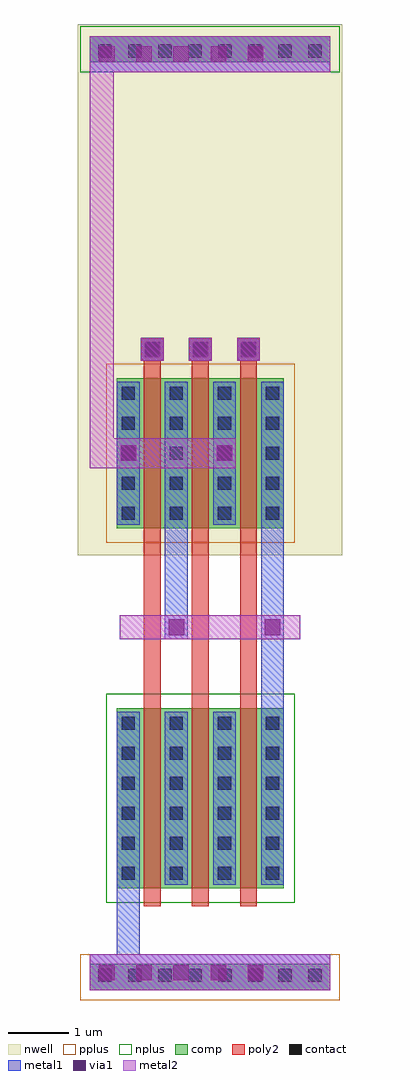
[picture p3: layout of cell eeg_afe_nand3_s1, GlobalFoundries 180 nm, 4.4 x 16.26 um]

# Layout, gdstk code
import gdstk
lib = gdstk.Library(unit=1e-6, precision=1e-09)
def R(c, l, rs):  # rectangles x0, y0, x1, y1
    for r in rs: c.add(gdstk.rectangle(r[:2], r[2:], *l))
def A(c, l, x, y, w, h, nx, ny, dx, dy):  # array of equal rectangles
    R(c, l, [(x+i*dx, y+j*dy, x+i*dx+w, y+j*dy+h) for i in range(nx) for j in range(ny)])
nwell = (21, 0)
comp = (22, 0)
poly2 = (30, 0)
pplus = (31, 0)
nplus = (32, 0)
contact = (33, 0)
metal1 = (34, 0)
via1 = (35, 0)
metal2 = (36, 0)

eeg_afe_nand3_s1 = lib.new_cell('eeg_afe_nand3_s1')
R(eeg_afe_nand3_s1, nwell, [(-0.2,7.25,4.2,16.1)])
R(eeg_afe_nand3_s1, comp, [(0,0,4,0.44), (0.45,1.7,3.23,4.7), (0.45,7.7,3.23,10.2), (0,15.46,4,15.9)])
A(eeg_afe_nand3_s1, poly2, 0.9, 1.4, 0.28, 6.3, 3, 1, 0.8, 0)
A(eeg_afe_nand3_s1, poly2, 0.9, 7.4, 0.28, 3.46, 3, 1, 0.8, 0)
A(eeg_afe_nand3_s1, poly2, 0.86, 10.5, 0.36, 0.36, 3, 1, 0.8, 0)
R(eeg_afe_nand3_s1, pplus, [(-0.16,-0.16,4.16,0.6), (0.27,7.46,3.41,10.44)])
R(eeg_afe_nand3_s1, nplus, [(0.27,1.46,3.41,4.94), (-0.16,15.3,4.16,16.06)])
A(eeg_afe_nand3_s1, contact, 0.14, 0.14, 0.22, 0.22, 8, 2, 0.5, 15.4)
A(eeg_afe_nand3_s1, contact, 0.53, 1.84, 0.22, 0.22, 4, 6, 0.8, 0.5)
A(eeg_afe_nand3_s1, contact, 0.53, 7.84, 0.22, 0.22, 4, 5, 0.8, 0.5)
A(eeg_afe_nand3_s1, contact, 0.93, 10.57, 0.22, 0.22, 3, 1, 0.8, 0)
A(eeg_afe_nand3_s1, metal1, 0.85, 10.49, 0.38, 0.38, 3, 1, 0.8, 0)
R(eeg_afe_nand3_s1, metal1, [(0,0,4,0.6), (0,0,4,0.44), (0.45,0.3,0.83,4.64), (1.25,1.76,1.63,4.64), (2.05,1.76,2.43,4.64), (2.85,1.76,3.23,6.25), (1.25,5.85,1.63,10.14), (2.85,5.85,3.23,10.14), (0.45,7.76,0.83,10.14), (2.05,7.76,2.43,10.14), (0,15.3,4,15.9), (0,15.46,4,15.9)])
A(eeg_afe_nand3_s1, via1, 0.15, 0.17, 0.26, 0.26, 5, 2, 0.62, 15.3)
A(eeg_afe_nand3_s1, via1, 0.91, 10.55, 0.26, 0.26, 3, 1, 0.8, 0)
R(eeg_afe_nand3_s1, via1, [(1.31,5.92,1.57,6.18), (2.91,5.92,3.17,6.18), (2.91,5.92,3.17,6.18), (0.51,8.82,0.77,9.08), (2.11,8.82,2.37,9.08)])
A(eeg_afe_nand3_s1, metal2, 0.85, 10.49, 0.38, 0.38, 3, 1, 0.8, 0)
R(eeg_afe_nand3_s1, metal2, [(0,0,4,0.6), (0.5,5.85,3.5,6.25), (0,8.7,2.43,9.2), (0,8.7,0.4,15.3), (0,15.3,4,15.9)])

lib.write_gds('eeg_afe_nand3_s1.gds')
